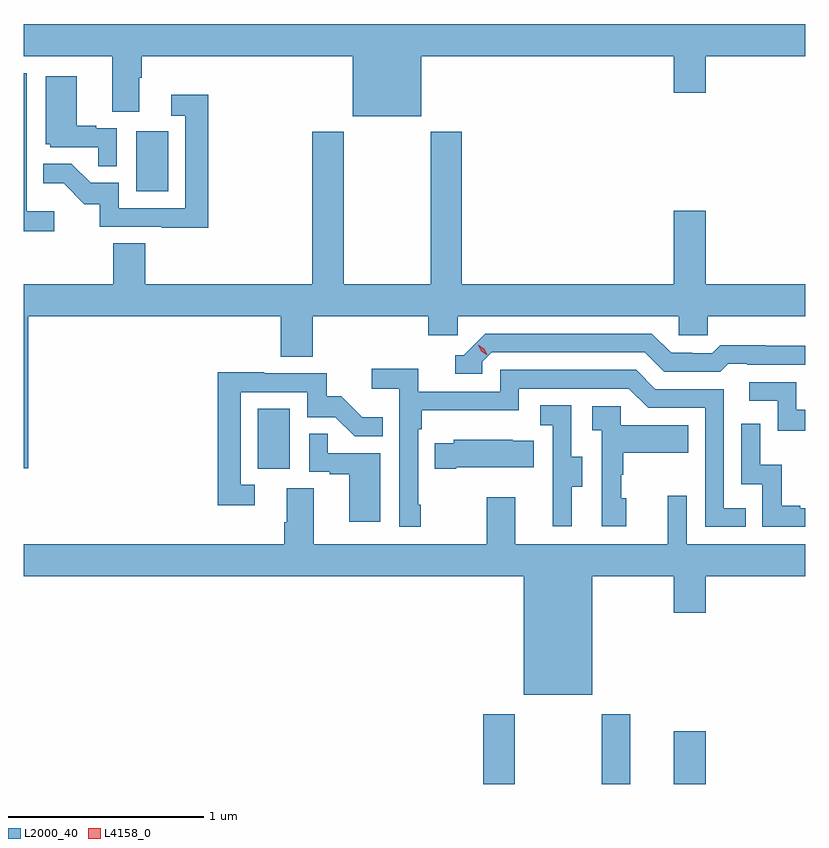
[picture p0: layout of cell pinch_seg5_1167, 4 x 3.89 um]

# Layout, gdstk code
import gdstk
lib = gdstk.Library(unit=1e-6, precision=1e-09)
def R(c, l, rs):  # rectangles x0, y0, x1, y1
    for r in rs: c.add(gdstk.rectangle(r[:2], r[2:], *l))
def P(c, l, *ps):  # polygons
    for p in ps: c.add(gdstk.Polygon(p, *l))
L2000_40 = (2000, 40)
L4158_0 = (4158, 0)

pinch_seg5_1167 = lib.new_cell('pinch_seg5_1167')
R(pinch_seg5_1167, L2000_40, [(859.337,847.704,859.497,848.062), (859.942,847.704,860.089,848.062), (860.312,847.704,860.476,847.975), (858.182,849.318,858.346,849.625), (857.558,850.74,857.722,851.047)])
P(pinch_seg5_1167, L2000_40, [(859.018,851.432),(860.312,851.432),(860.312,851.244),(860.476,851.244),(860.476,851.432),(860.984,851.432),(860.984,851.596),(856.984,851.596),(856.984,851.432),(857.435,851.432),(857.435,851.146),(857.575,851.146),(857.575,851.32),(857.588,851.32),(857.588,851.432),(858.668,851.432),(858.668,851.123),(859.018,851.123)],
  [(857.14,850.636),(856.998,850.636),(856.998,851.344),(856.984,851.344),(856.984,850.534),(857.14,850.534)],
  [(857.46,851.061),(857.354,851.061),(857.354,851.074),(857.254,851.074),(857.254,851.329),(857.096,851.329),(857.096,850.98),(857.118,850.98),(857.118,850.965),(857.365,850.965),(857.365,850.867),(857.46,850.867)],
  [(857.927,851.233),(857.739,851.233),(857.739,851.127),(857.811,851.127),(857.811,850.653),(857.469,850.653),(857.469,850.782),(857.325,850.782),(857.227,850.88),(857.083,850.88),(857.083,850.781),(857.187,850.781),(857.294,850.674),(857.371,850.674),(857.371,850.557),(857.689,850.557),(857.689,850.552),(857.927,850.552)],
  [(858.621,851.044),(858.461,851.044),(858.461,850.264),(857.606,850.264),(857.606,850.472),(857.441,850.472),(857.441,850.264),(856.984,850.264),(856.984,849.321),(857.006,849.321),(857.006,850.1),(858.299,850.1),(858.299,849.892),(858.464,849.892),(858.464,850.1),(859.055,850.1),(859.055,850.002),(859.206,850.002),(859.206,850.1),(860.337,850.1),(860.337,850.002),(860.487,850.002),(860.487,850.1),(860.984,850.1),(860.984,850.264),(860.476,850.264),(860.476,850.639),(860.312,850.639),(860.312,850.264),(859.226,850.264),(859.226,851.044),(859.066,851.044),(859.066,850.264),(858.621,850.264)],
  [(859.332,849.867),(859.38,849.915),(860.163,849.915),(860.262,849.816),(860.551,849.816),(860.59,849.855),(860.689,849.855),(860.689,849.852),(860.982,849.852),(860.984,849.85),(860.984,849.949),(860.784,849.949),(860.784,849.952),(860.551,849.952),(860.509,849.909),(860.406,849.909),(860.406,849.912),(860.299,849.912),(860.2,850.011),(859.347,850.011),(859.236,849.9),(859.193,849.9),(859.193,849.804),(859.332,849.804)],
  [(859.015,849.133),(859.002,849.133),(859.002,849.521),(859.022,849.521),(859.022,849.617),(859.518,849.617),(859.518,849.729),(860.082,849.729),(860.181,849.63),(860.472,849.63),(860.472,849.021),(860.681,849.021),(860.681,849.117),(860.568,849.117),(860.568,849.726),(860.218,849.726),(860.119,849.825),(859.422,849.825),(859.422,849.714),(859.004,849.714),(859.004,849.83),(858.765,849.83),(858.765,849.728),(858.906,849.728),(858.906,849.021),(859.015,849.021)],
  [(858.166,849.237),(858.093,849.237),(858.093,849.711),(858.435,849.711),(858.435,849.582),(858.579,849.582),(858.677,849.484),(858.821,849.484),(858.821,849.583),(858.717,849.583),(858.61,849.69),(858.534,849.69),(858.534,849.807),(858.215,849.807),(858.215,849.812),(857.977,849.812),(857.977,849.132),(858.166,849.132)],
  [(860.984,849.621),(860.94,849.621),(860.94,849.762),(860.697,849.762),(860.697,849.666),(860.844,849.666),(860.844,849.513),(860.984,849.513)],
  [(859.789,849.226),(859.843,849.226),(859.843,849.381),(859.788,849.381),(859.788,849.644),(859.629,849.644),(859.629,849.541),(859.692,849.541),(859.692,849.237),(859.691,849.237),(859.691,849.024),(859.789,849.024)],
  [(860.068,849.168),(860.043,849.168),(860.043,849.287),(860.053,849.287),(860.053,849.401),(860.387,849.401),(860.387,849.541),(860.04,849.541),(860.04,849.639),(859.893,849.639),(859.893,849.515),(859.944,849.515),(859.944,849.024),(860.068,849.024)],
  [(860.984,849.117),(860.959,849.117),(860.959,849.13),(860.864,849.13),(860.864,849.338),(860.754,849.338),(860.754,849.55),(860.658,849.55),(860.658,849.24),(860.766,849.24),(860.766,849.021),(860.984,849.021)],
  [(858.808,849.399),(858.539,849.399),(858.539,849.497),(858.444,849.497),(858.444,849.303),(858.551,849.303),(858.551,849.291),(858.65,849.291),(858.65,849.048),(858.808,849.048)],
  [(859.198,849.326),(859.595,849.326),(859.595,849.463),(859.487,849.463),(859.487,849.466),(859.185,849.466),(859.185,849.448),(859.087,849.448),(859.087,849.319),(859.198,849.319)],
  [(859.894,848.768),(860.312,848.768),(860.312,848.58),(860.476,848.58),(860.476,848.768),(860.984,848.768),(860.984,848.932),(860.379,848.932),(860.379,849.181),(860.282,849.181),(860.282,848.932),(859.501,848.932),(859.501,849.172),(859.354,849.172),(859.354,848.932),(858.469,848.932),(858.469,849.218),(858.329,849.218),(858.329,849.044),(858.317,849.044),(858.317,848.932),(856.984,848.932),(856.984,848.768),(859.544,848.768),(859.544,848.162),(859.894,848.162)])
P(pinch_seg5_1167, L4158_0, [(859.355,849.901),(859.325,849.921),(859.31,849.953),(859.31,849.954),(859.31,849.954),(859.34,849.934),(859.356,849.902),(859.356,849.901)])

lib.write_gds('pinch_seg5_1167.gds')
